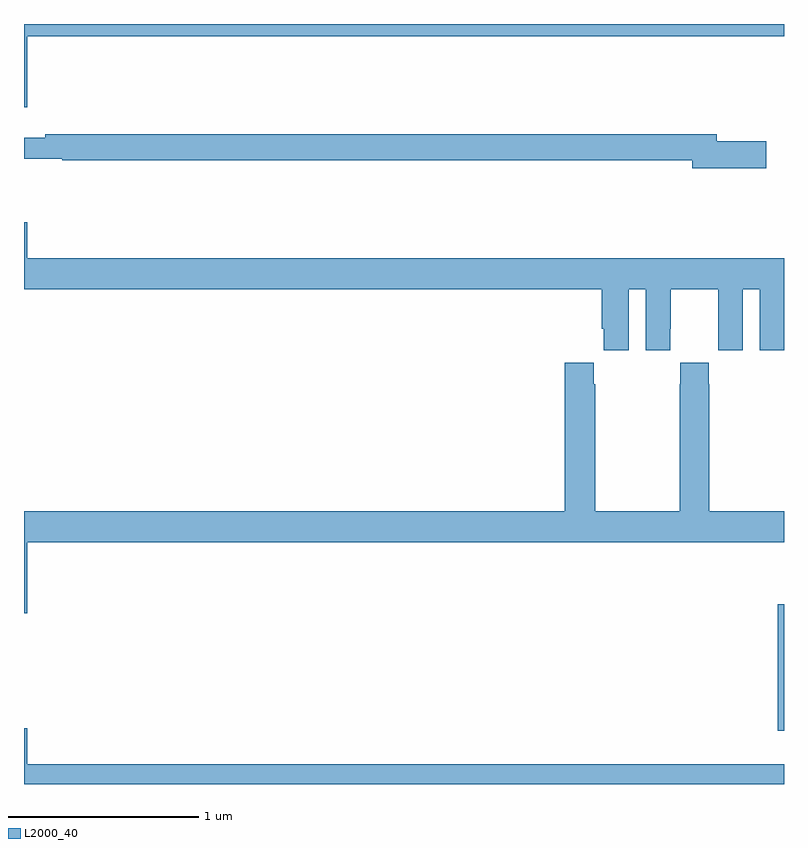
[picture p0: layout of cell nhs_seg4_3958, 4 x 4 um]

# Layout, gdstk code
import gdstk
lib = gdstk.Library(unit=1e-6, precision=1e-09)
def R(c, l, rs):  # rectangles x0, y0, x1, y1
    for r in rs: c.add(gdstk.rectangle(r[:2], r[2:], *l))
def P(c, l, *ps):  # polygons
    for p in ps: c.add(gdstk.Polygon(p, *l))
L2000_40 = (2000, 40)

nhs_seg4_3958 = lib.new_cell('nhs_seg4_3958')
R(nhs_seg4_3958, L2000_40, [(324.968,777.18,325,777.847)])
P(nhs_seg4_3958, L2000_40, [(321.016,780.836),(325,780.836),(325,780.9),(321,780.9),(321,780.462),(321.016,780.462)],
  [(324.907,780.284),(324.646,780.284),(324.646,780.32),(321.112,780.32),(321.112,780.301),(321,780.301),(321,780.192),(321.2,780.192),(321.2,780.184),(324.518,780.184),(324.518,780.142),(324.907,780.142)],
  [(324.184,779.504),(324.272,779.504),(324.272,779.184),(324.402,779.184),(324.402,779.296),(324.403,779.296),(324.403,779.504),(324.653,779.504),(324.653,779.296),(324.654,779.296),(324.654,779.184),(324.784,779.184),(324.784,779.504),(324.872,779.504),(324.872,779.184),(325,779.184),(325,779.668),(321.016,779.668),(321.016,779.857),(321,779.857),(321,779.504),(324.041,779.504),(324.041,779.296),(324.05,779.296),(324.05,779.184),(324.184,779.184)],
  [(321.016,778.172),(325,778.172),(325,778.336),(324.606,778.336),(324.606,779.003),(324.603,779.003),(324.603,779.116),(324.453,779.116),(324.453,779.003),(324.451,779.003),(324.451,778.336),(324.006,778.336),(324.006,779.003),(323.999,779.003),(323.999,779.116),(323.846,779.116),(323.846,778.336),(321,778.336),(321,777.798),(321.016,777.798)],
  [(325,777.004),(321.016,777.004),(321.016,777.193),(321,777.193),(321,776.9),(325,776.9)])

lib.write_gds('nhs_seg4_3958.gds')
